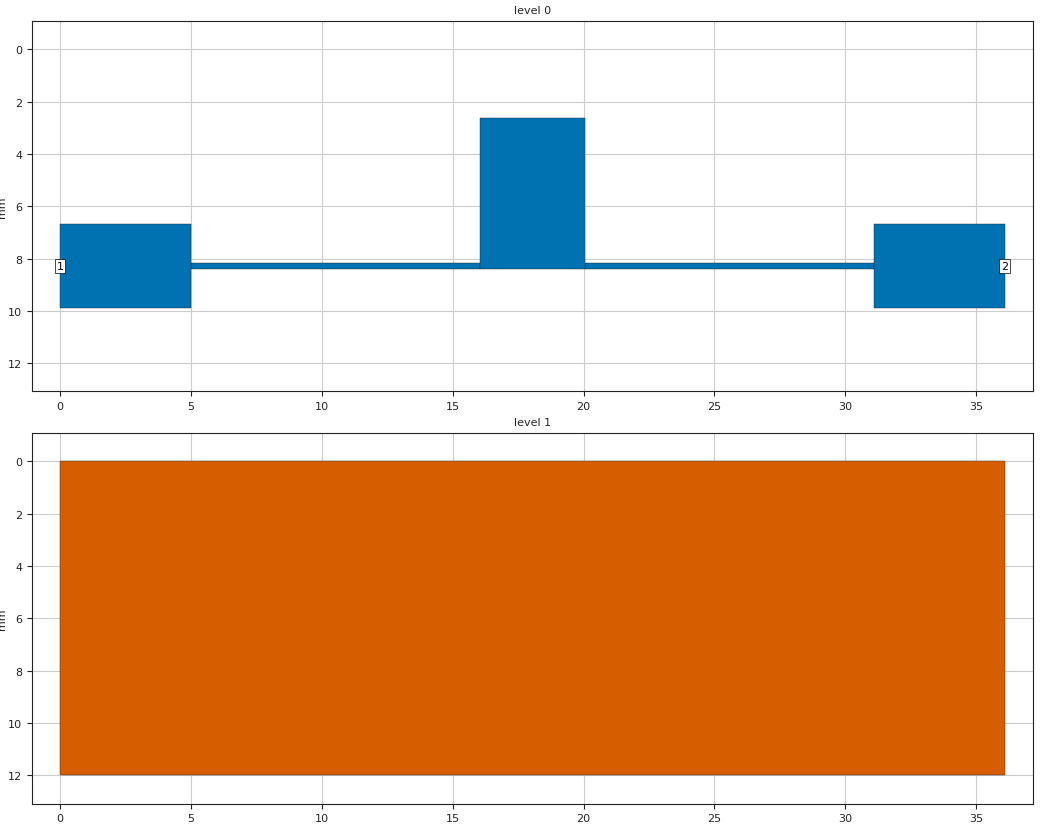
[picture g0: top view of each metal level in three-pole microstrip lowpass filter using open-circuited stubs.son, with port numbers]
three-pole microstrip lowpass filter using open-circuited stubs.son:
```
FTYP SONPROJ 13 ! Sonnet Project File
VER 15.53
DIM
ANG DEG
CAP PF
CON /OH
FREQ GHZ
IND NH
LNG MM
RES OH
END DIM
FREQ
ABS_ENTRY 0.001 6.0 
END FREQ
CONTROL
STD
OPTIONS  -bdj
SPEED 0
CACHE_ABS 1
TARG_ABS 300
Q_ACC N
END CONTROL
GEO
DRP1 LEFT LINK
POLY 13 1
0
DRP1 RIGHT LINK
POLY 15 1
0
TMET "Lossless" 0 SUP 0 0 0 0
BMET "Lossless" 0 SUP 0 0 0 0
MET "Copper" 1 NOR 58000000 1 0.01 
BOX 1 36.1 12 722 240 20 0
      20 1 1 0 0 0 0 "Air"
      1.6 4.3 1 0.02 0 0 0 "FR-4"
LORGN 0 12 U 
POR1 STD
POLY 13 1
2
1 50 0 0 0 0 8.28975 
POR1 STD
POLY 15 1
2
2 50 0 0 0 36.1 8.290025 
NUM 6
0 5 0 N 11 1 1 100 100 0 0 0 Y
5.010005 8.189745
16.050005 8.189745
16.050005 8.389745
5.010005 8.389745
5.010005 8.189745
END
0 5 0 N 12 1 1 100 100 0 0 0 Y
20.049995 8.190025
31.089995 8.190025
31.089995 8.390025
20.049995 8.390025
20.049995 8.190025
END
0 5 0 N 13 1 1 100 100 0 0 0 Y
5.01 9.88977
5.01 6.68973
0 6.68973
0 9.88977
5.01 9.88977
END
0 5 0 N 15 1 1 100 100 0 0 0 Y
31.09 6.69002
31.09 9.89003
36.1 9.89003
36.1 6.69002
31.09 6.69002
END
0 5 0 N 17 1 1 100 100 0 0 0 Y
16.050005 2.609975
20.050005 2.609975
20.050005 8.389975
16.050005 8.389975
16.050005 2.609975
END
1 5 0 N 46 1 1 100 100 0 0 0 Y
0 0
36.1 0
36.1 12
0 12
0 0
END
END GEO
OPT
MAX 100
VARS
END
END OPT
VARSWP
END VARSWP
QSG
IMPORT NO
EXTRA_METAL NO
UNITS YES
ALIGN NO
REF NO
VIEW_RES YES
METALS YES
USED NO
END QSG
TRANSLATOR
DXFEXPORT
UseTLs false
SepObj true
SepMat true
DivideMulti false
Circles false
CircleType inscribed
CircleSize 0
KeepMetals true
KeepVias true
KeepViaPads true
KeepBricks true
KeepEdgeVias true
KeepParent true
ConvertParent false
AllEdgeViasAsVia false
END
END TRANSLATOR
```
